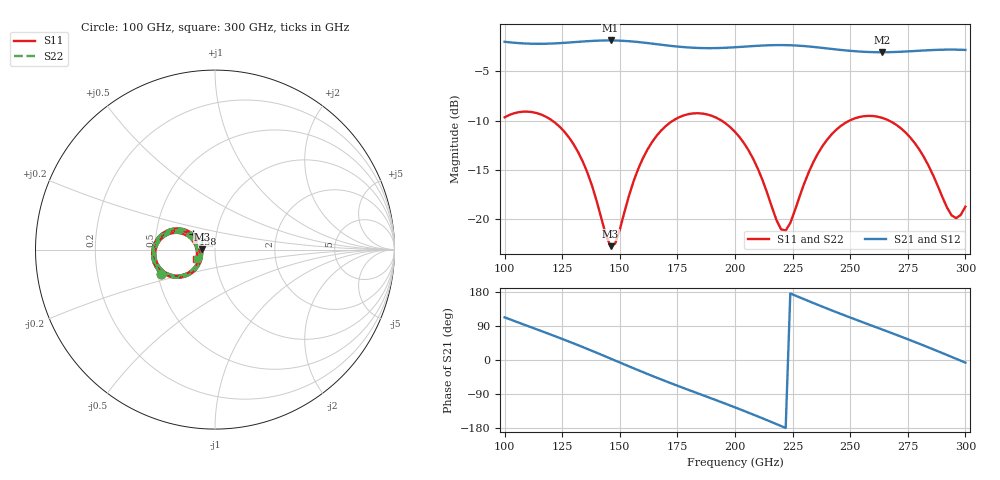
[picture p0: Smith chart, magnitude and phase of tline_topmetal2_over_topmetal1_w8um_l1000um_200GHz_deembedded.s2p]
! Created with skrf 2.2.0 (http://scikit-rf.org).
# GHz S DB R 50.0
! Port[1] = P1
! Port[2] = P2
!freq dBS11 angS11 dBS21 angS21 dBS12 angS12 dBS22 angS22
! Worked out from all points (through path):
!   101 points, 100 GHz to 300 GHz, reference 50 ohm
!   highest |S21| = -1.86 dB at 146 GHz (marker M1); lowest = -3.1 dB at 264 GHz (marker M2)
!   group delay of S21, straight-line fit = 6.67 ps
!   lowest |S11| = -22.7 dB at 146 GHz (marker M3), VSWR 1.16, Z = 43.2 + j0.0947 ohm
!   |S11| at or under -10 dB: 120.7 GHz to 173 GHz (52.33 GHz wide, 35.6 % of centre); 194.2 GHz to 249.6 GHz (55.36 GHz wide, 24.9 % of centre); 266.9 GHz to end of sweep
!   |S22| runs from -22.7 to -9.1 dB; largest |S21 - S12| = 9.2e-14
!   S11 on the Smith chart (normalised r, x): 100 GHz: 0.52, -0.16; 138 GHz: 0.78, +0.14; 300 GHz: 0.81, -0.08
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100  -9.65 -156.1  -2.00 112.6  -2.00 112.6  -9.65 -156.0
108  -9.08 -171.3  -2.16 94.3  -2.16 94.3  -9.08 -171.2
118  -9.60 170.3  -2.19 71.7  -2.19 71.7  -9.60 170.4
134  -14.18 145.9  -1.97 33.9  -1.97 33.9  -14.16 146.0
138  -16.63 144.6  -1.91 24.0  -1.91 24.0  -16.61 144.7
146  -22.71 179.1  -1.86 3.7  -1.86 3.7  -22.68 179.1
148  -22.45 -161.7  -1.87 -1.4  -1.87 -1.4  -22.43 -161.9
156  -16.13 -133.7  -1.98 -21.9  -1.98 -21.9  -16.13 -133.8
168  -10.98 -146.9  -2.30 -51.4  -2.30 -51.4  -10.98 -146.9
184  -9.24 -174.6  -2.62 -88.3  -2.62 -88.3  -9.24 -174.5
200  -11.13 159.0  -2.55 -125.0  -2.55 -125.0  -11.12 159.0
208  -13.91 149.8  -2.43 -144.2  -2.43 -144.2  -13.90 149.8
220  -21.01 176.2  -2.33 -174.2  -2.33 -174.2  -20.98 176.0
224  -20.36 -156.1  -2.35 175.6  -2.35 175.6  -20.35 -156.3
234  -14.20 -139.1  -2.52 150.4  -2.52 150.4  -14.21 -139.2
248  -10.20 -156.9  -2.87 116.8  -2.87 116.8  -10.21 -157.0
264  -9.72 177.2  -3.06 80.2  -3.06 80.2  -9.72 177.1
268  -10.12 170.9  -3.04 71.1  -3.04 71.1  -10.13 170.8
278  -12.26 157.5  -2.93 47.7  -2.93 47.7  -12.27 157.3
286  -15.53 154.0  -2.83 28.2  -2.83 28.2  -15.57 153.7
294  -19.59 175.2  -2.79 8.2  -2.79 8.2  -19.70 174.9
300  -18.71 -153.9  -2.82 -6.9  -2.82 -6.9  -18.81 -153.6
